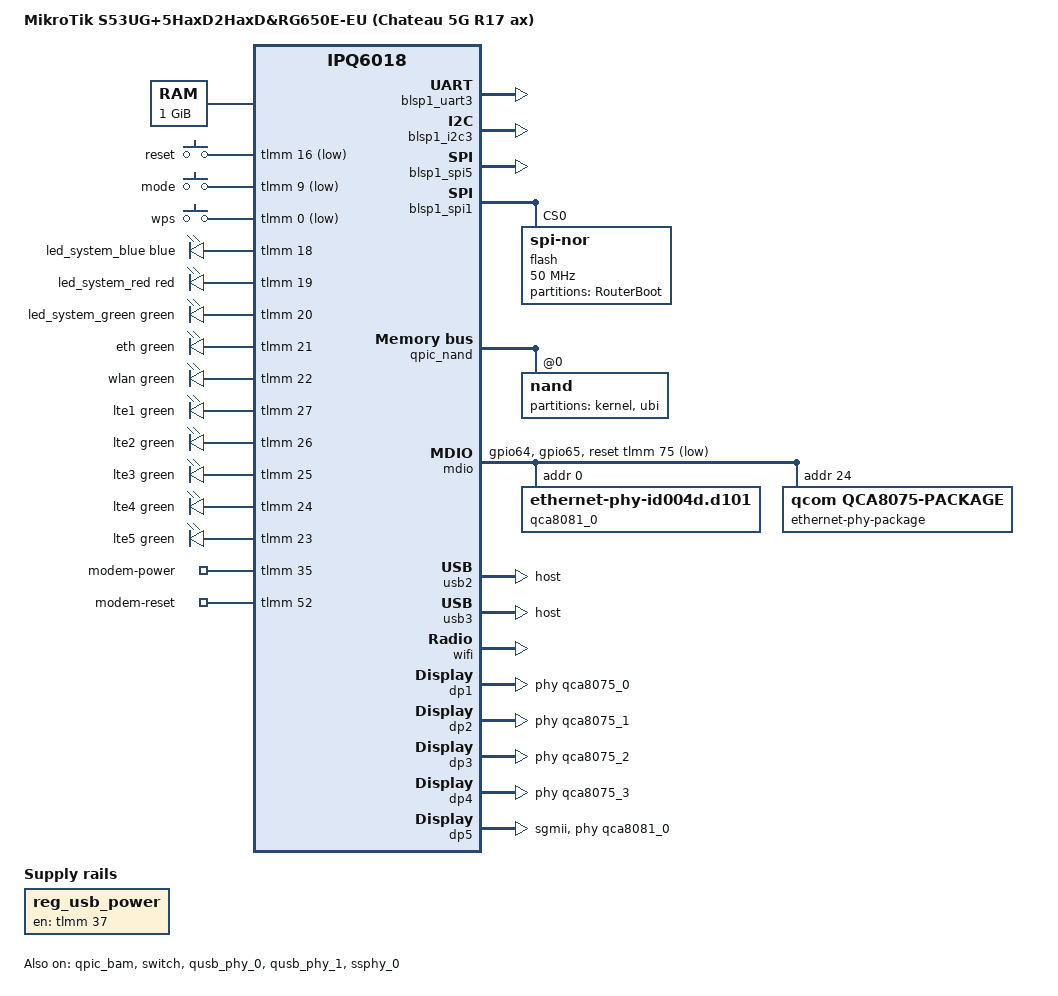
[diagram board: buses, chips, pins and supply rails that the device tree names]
// SPDX-License-Identifier: GPL-2.0-or-later OR MIT

/dts-v1/;

#include "ipq6018.dtsi"
#include "ipq6018-cp-cpu.dtsi"
#include "ipq6018-ess.dtsi"
#include "ipq6018-nss.dtsi"
#include <dt-bindings/gpio/gpio.h>
#include <dt-bindings/input/input.h>
#include <dt-bindings/leds/common.h>

/ {
	model = "MikroTik S53UG+5HaxD2HaxD&RG650E-EU (Chateau 5G R17 ax)";
	compatible = "mikrotik,chateau-5g-r17-ax", "qcom,ipq6018";

	/*
	 * Normally injected into the DTB by the QSDK U-Boot; RouterBOOT does
	 * not do this. Without it the CPR driver hits BUG_ON() in
	 * read_ipq_soc_version_major().
	 */
	soc_version_major = <1>;

	aliases {
		serial0 = &blsp1_uart3;
		label-mac-device = &dp4;
		led-boot = &led_system_green;
		led-running = &led_system_green;
		led-failsafe = &led_system_red;
		led-upgrade = &led_system_blue;
	};

	chosen {
		stdout-path = "serial0:115200n8";
		/* RouterBOOT passes no command line, so provide a full one. */
		bootargs = "earlycon console=ttyMSM0,115200n8";
	};

	/* RouterBOOT passes no memory node either. */
	memory@40000000 {
		device_type = "memory";
		reg = <0x0 0x40000000 0x0 0x40000000>;
	};

	keys {
		compatible = "gpio-keys";

		reset {
			label = "reset";
			linux,code = <KEY_RESTART>;
			gpios = <&tlmm 16 GPIO_ACTIVE_LOW>;
		};

		/*
		 * BTN_0 rather than KEY_MODE, which gpio_button_hotplug does not
		 * know; an unsupported code makes the whole node fail to probe,
		 * taking the reset button with it.
		 */
		mode {
			label = "mode";
			linux,code = <BTN_0>;
			gpios = <&tlmm 9 GPIO_ACTIVE_LOW>;
		};

		wps {
			label = "wps";
			linux,code = <KEY_WPS_BUTTON>;
			gpios = <&tlmm 0 GPIO_ACTIVE_LOW>;
		};
	};

	leds {
		compatible = "gpio-leds";

		led_system_blue: system-blue {
			color = <LED_COLOR_ID_BLUE>;
			function = LED_FUNCTION_STATUS;
			gpios = <&tlmm 18 GPIO_ACTIVE_HIGH>;
		};

		led_system_red: system-red {
			color = <LED_COLOR_ID_RED>;
			function = LED_FUNCTION_STATUS;
			gpios = <&tlmm 19 GPIO_ACTIVE_HIGH>;
		};

		led_system_green: system-green {
			color = <LED_COLOR_ID_GREEN>;
			function = LED_FUNCTION_STATUS;
			gpios = <&tlmm 20 GPIO_ACTIVE_HIGH>;
		};

		eth {
			color = <LED_COLOR_ID_GREEN>;
			function = LED_FUNCTION_LAN;
			gpios = <&tlmm 21 GPIO_ACTIVE_HIGH>;
		};

		wlan {
			color = <LED_COLOR_ID_GREEN>;
			function = LED_FUNCTION_WLAN;
			gpios = <&tlmm 22 GPIO_ACTIVE_HIGH>;
			linux,default-trigger = "phy0radio";
		};

		/*
		 * Signal strength bar. RouterOS drives these from the modem via
		 * its "modem-signal" trigger; under OpenWrt they are plain LEDs
		 * for userspace to drive.
		 */
		lte1 {
			color = <LED_COLOR_ID_GREEN>;
			function = LED_FUNCTION_MOBILE;
			function-enumerator = <1>;
			gpios = <&tlmm 27 GPIO_ACTIVE_HIGH>;
		};

		lte2 {
			color = <LED_COLOR_ID_GREEN>;
			function = LED_FUNCTION_MOBILE;
			function-enumerator = <2>;
			gpios = <&tlmm 26 GPIO_ACTIVE_HIGH>;
		};

		lte3 {
			color = <LED_COLOR_ID_GREEN>;
			function = LED_FUNCTION_MOBILE;
			function-enumerator = <3>;
			gpios = <&tlmm 25 GPIO_ACTIVE_HIGH>;
		};

		lte4 {
			color = <LED_COLOR_ID_GREEN>;
			function = LED_FUNCTION_MOBILE;
			function-enumerator = <4>;
			gpios = <&tlmm 24 GPIO_ACTIVE_HIGH>;
		};

		lte5 {
			color = <LED_COLOR_ID_GREEN>;
			function = LED_FUNCTION_MOBILE;
			function-enumerator = <5>;
			gpios = <&tlmm 23 GPIO_ACTIVE_HIGH>;
		};
	};

	/*
	 * Modem power and reset, exported to userspace.
	 *
	 * These were a regulator-fixed with regulator-always-on before, which
	 * kept the modem powered but made it impossible to switch off. The
	 * RG650E does get wedged occasionally, and a power cycle is the only
	 * way back, so the lines are exported instead:
	 *
	 *   /sys/class/gpio/modem-power  1 = powered (default), 0 = off
	 *   /sys/class/gpio/modem-reset  pulse to reset without cutting power
	 *
	 * GPIO numbers come from MikroTik's own device tree, where GPIO 35 is
	 * named "mpcie-power-off" and GPIO 52 "lte-reset". Driving GPIO 35 low
	 * removes power, so the export is declared active high and named for
	 * what it enables rather than for what it cuts: 1 powers the modem.
	 */
	gpio-export {
		compatible = "gpio-export";
		#size-cells = <0>;

		modem-power {
			gpio-export,name = "modem-power";
			gpio-export,output = <1>;
			gpios = <&tlmm 35 GPIO_ACTIVE_HIGH>;
		};

		modem-reset {
			gpio-export,name = "modem-reset";
			gpio-export,output = <0>;
			gpios = <&tlmm 52 GPIO_ACTIVE_HIGH>;
		};
	};

	reg_usb_power: regulator-usb-power {
		compatible = "regulator-fixed";
		regulator-name = "usb-power";
		gpios = <&tlmm 37 GPIO_ACTIVE_LOW>;
		enable-active-high;
		regulator-boot-on;
		regulator-always-on;
	};
};

&blsp1_uart3 {
	pinctrl-0 = <&serial_3_pins>;
	pinctrl-names = "default";
	status = "okay";
};

&blsp1_i2c3 {
	status = "okay";
};

/*
 * MikroTik attaches a board sensor here (compatible "rb-spi-ts": board
 * temperature and PSU voltage). No driver exists for it, but the bus is
 * enabled so the sensor can be wired up later without a DTS change.
 */
&blsp1_spi5 {
	status = "okay";
};

&blsp1_spi1 {
	pinctrl-names = "default";
	status = "okay";

	flash@0 {
		compatible = "jedec,spi-nor";
		reg = <0>;
		spi-max-frequency = <50000000>;

		partitions {
			compatible = "fixed-partitions";
			#address-cells = <1>;
			#size-cells = <1>;

			/*
			 * Declared as a RouterBoot container so rb_hardconfig
			 * exports /sys/firmware/mikrotik/hard_config/*, which
			 * carries the ath11k calibration data and the base MAC.
			 * Sub-partitions are sized by the driver at runtime.
			 */
			/*
			 * Not read-only as a whole, so that soft_config can be
			 * written: MTD only ever masks flags downwards, so a
			 * read-only parent forces every child read-only too.
			 *
			 * soft_config carries RouterBOOT's boot settings, and being
			 * able to write them is what allows etherboot to be triggered
			 * over the network instead of with the reset button. It also
			 * needs routerbootpart to grow the partition to a full erase
			 * block, otherwise MTD refuses writes regardless.
			 *
			 * The trade-off is that the bootloader itself, which lives in
			 * this partition and has no node of its own, is no longer
			 * write protected at the MTD level. Nothing in OpenWrt writes
			 * there, and MikroTik's own firmware keeps it writable for the
			 * same reason, but a stray write to this mtd would take out
			 * the recovery path. hard_config, with the MAC addresses and
			 * the WLAN calibration data, stays protected.
			 */
			partition@2c0000 {
				label = "RouterBoot";
				reg = <0x2c0000 0x80000>;
				compatible = "mikrotik,routerboot-partitions";
				#address-cells = <1>;
				#size-cells = <1>;

				hard_config {
					read-only;

					nvmem-layout {
						compatible = "mikrotik,routerboot-nvmem";

						macaddr_hard: base-mac-address {
							#nvmem-cell-cells = <1>;
						};
					};
				};

				soft_config {
				};
			};
		};
	};
};

&qpic_bam {
	status = "okay";
};

&qpic_nand {
	status = "okay";

	nand@0 {
		reg = <0>;
		nand-ecc-strength = <4>;
		nand-ecc-step-size = <512>;
		nand-bus-width = <8>;

		partitions {
			compatible = "fixed-partitions";
			#address-cells = <1>;
			#size-cells = <1>;

			partition@0 {
				label = "kernel";
				reg = <0x0000000 0x0800000>;
			};

			partition@800000 {
				label = "ubi";
				reg = <0x0800000 0x7800000>;
			};
		};
	};
};

&tlmm {
	mdio_pins: mdio-pins {
		mdc {
			pins = "gpio64";
			function = "mdc";
			drive-strength = <8>;
			bias-pull-up;
		};

		mdio {
			pins = "gpio65";
			function = "mdio";
			drive-strength = <8>;
			bias-pull-up;
		};
	};
};

&mdio {
	status = "okay";
	pinctrl-0 = <&mdio_pins>;
	pinctrl-names = "default";
	reset-gpios = <&tlmm 75 GPIO_ACTIVE_LOW>;
	reset-delay-us = <10000>;
	reset-post-delay-us = <50000>;

	qca8081_0: ethernet-phy@0 {
		compatible = "ethernet-phy-id004d.d101";
		reg = <0>;
	};

	/*
	 * The QCA8075 has to be described as a package; that is what sets up
	 * the shared PSGMII mode. Declared as plain PHY nodes the probe fails
	 * with -EINVAL.
	 */
	ethernet-phy-package@18 {
		compatible = "qcom,qca8075-package";
		#address-cells = <1>;
		#size-cells = <0>;
		reg = <0x18>;

		qcom,package-mode = "psgmii";

		/*
		 * Qualcomm's SSDK drives the PSGMII SerDes at 300 mV, while
		 * qca807x.c defaults to 600 mV without this property.
		 */
		qcom,tx-drive-strength-milliwatt = <300>;

		qca8075_0: ethernet-phy@18 {
			compatible = "ethernet-phy-ieee802.3-c22";
			reg = <0x18>;
		};

		qca8075_1: ethernet-phy@19 {
			compatible = "ethernet-phy-ieee802.3-c22";
			reg = <0x19>;
		};

		qca8075_2: ethernet-phy@1a {
			compatible = "ethernet-phy-ieee802.3-c22";
			reg = <0x1a>;
		};

		qca8075_3: ethernet-phy@1b {
			compatible = "ethernet-phy-ieee802.3-c22";
			reg = <0x1b>;
		};
	};
};


&switch {
	status = "okay";

	switch_lan_bmp = <(ESS_PORT1 | ESS_PORT2 | ESS_PORT3 | ESS_PORT4 | ESS_PORT5)>;
	switch_wan_bmp = <0>;
	switch_mac_mode = <MAC_MODE_PSGMII>;
	switch_mac_mode1 = <MAC_MODE_SGMII_PLUS>;

	qcom,port_phyinfo {
		port@1 {
			port_id = <1>;
			phy_address = <24>;
		};

		port@2 {
			port_id = <2>;
			phy_address = <25>;
		};

		port@3 {
			port_id = <3>;
			phy_address = <26>;
		};

		port@4 {
			port_id = <4>;
			phy_address = <27>;
		};

		port@5 {
			port_id = <5>;
			phy_address = <0>;
			port_mac_sel = "QGMAC_PORT";
		};
	};
};

&edma {
	status = "okay";
};

/* The RG650E modem sits on usb2; usb3 drives the external port. */
&qusb_phy_0 {
	status = "okay";
};

&qusb_phy_1 {
	status = "okay";
};

&ssphy_0 {
	status = "okay";
};

&usb2 {
	dr_mode = "host";

	status = "okay";
};

&usb3 {
	dr_mode = "host";

	status = "okay";
};

/*
 * Enabling PCIe appeared to stop the Ethernet transmit path: frames were
 * counted by the switch port but never left the PHY.
 *
 * That observation rests on a single boot per variant, and the PSGMII
 * calibration on this board fails intermittently in roughly one boot out of
 * three with a very similar symptom, so the bisect does not actually carry.
 * PCIe stays off because the mPCIe slot is unused here anyway - the modem is
 * on USB - but the question should be revisited over a larger sample once
 * the calibration is reliable.
 */
&pcie_phy {
	status = "disabled";
};

&pcie0 {
	status = "disabled";
};

/*
 * Keep the watchdog disabled on this board: a WDT bite is an abrupt hardware
 * warm reset that skips the WCSS/Q6 teardown and hangs the IPQ6018 in SBL1
 * DDR init (the known warm-reboot path). procd feeds it fine in normal
 * operation, but a bite is worse than the soft hang it would "recover" - the
 * board comes back stuck.
 */
&{/soc@0/watchdog@b017000} {
	status = "disabled";
};

&wifi {
	status = "okay";
	qcom,ath11k-fw-memory-mode = <1>;
	qcom,ath11k-calibration-variant = "MikroTik-Chateau-5G-R17";

	/*
	 * Without this the driver advertises a 6 GHz band the IPQ6018 does not
	 * have. cfg80211 then finds no regulatory rules for it and the channel
	 * list update fails for the whole PHY, taking 5 GHz down with it.
	 */
	ieee80211-freq-limit = <2402000 5835000>;
};

&dp1 {
	status = "okay";
	phy-handle = <&qca8075_0>;
	label = "lan4";
	nvmem-cells = <&macaddr_hard 3>;
	nvmem-cell-names = "mac-address";
};

&dp2 {
	status = "okay";
	phy-handle = <&qca8075_1>;
	label = "lan3";
	nvmem-cells = <&macaddr_hard 2>;
	nvmem-cell-names = "mac-address";
};

&dp3 {
	status = "okay";
	phy-handle = <&qca8075_2>;
	label = "lan2";
	nvmem-cells = <&macaddr_hard 1>;
	nvmem-cell-names = "mac-address";
};

&dp4 {
	status = "okay";
	phy-handle = <&qca8075_3>;
	label = "lan1";
	nvmem-cells = <&macaddr_hard 0>;
	nvmem-cell-names = "mac-address";
};

&dp5 {
	status = "okay";
	phy-mode = "sgmii";
	phy-handle = <&qca8081_0>;
	label = "lan5";
	nvmem-cells = <&macaddr_hard 4>;
	nvmem-cell-names = "mac-address";
};
